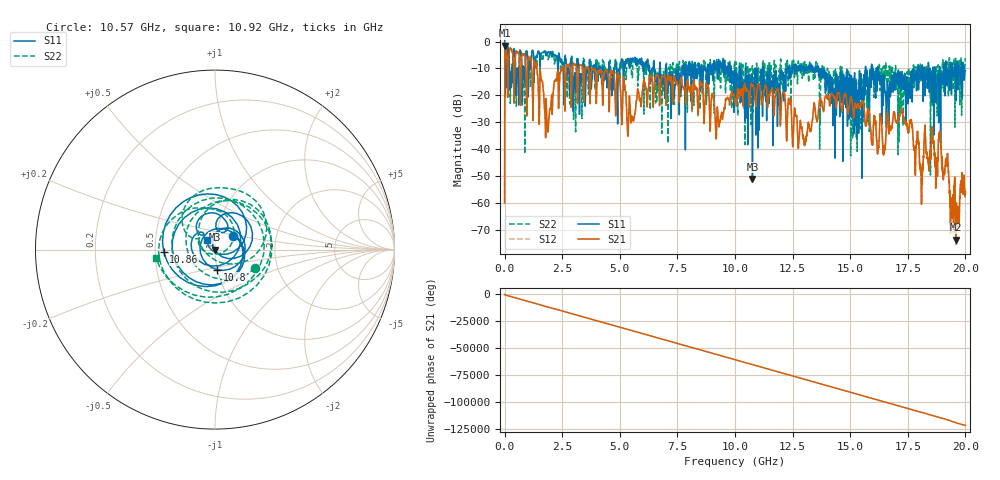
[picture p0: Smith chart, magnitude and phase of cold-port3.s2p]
! MS46122B
! 2250307/22442219
! 2/18/2026 9:26:52 AM
! C:\USERS\SPARKY\DOCUMENTS\VNA_DATA\FEB18_2026\COLD-PORT3.S2P
! CHANNEL.1
! TR.MEASUREMENT
! RAW.DATA
# GHZ S RI R 50.0
! FREQ.GHZ  S11RE  S11IM  S21RE  S21IM  S12RE  S12IM  S22RE  S22IM
!; PortSelection: Port_12
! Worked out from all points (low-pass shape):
!   10001 points, 1 MHz to 20 GHz, reference 50 ohm
!   highest |S21| = -1.53 dB at 33 MHz (marker M1); lowest = -73.6 dB at 19.59 GHz (marker M2)
!   |S21| within 3 dB of the highest: 197.9 MHz to 357.9 MHz (160 MHz wide, 57.6 % of centre); 476.2 MHz to 622 MHz (145.8 MHz wide, 26.5 % of centre) (the widest 2 of 5)
!   lowest |S11| = -51.0 dB at 10.76 GHz (marker M3), VSWR 1.01, Z = 49.7 + j0.0468 ohm
!   |S11| at or under -10 dB: 11.5 GHz to 12.23 GHz (732.6 MHz wide, 6.17 % of centre); 13.63 GHz to 15.66 GHz (2.023 GHz wide, 13.8 % of centre); 16.22 GHz to 17.73 GHz (1.513 GHz wide, 8.92 % of centre) (the widest 3 of 112)
!   |S22| runs from -49.6 to -0.2 dB; largest |S21 - S12| = 0.064
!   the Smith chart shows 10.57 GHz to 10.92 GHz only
!   S11 on the Smith chart (normalised r, x): 10.57 GHz: 1.21, +0.19; 10.8 GHz: 1.00, -0.23; 10.86 GHz: 0.56, -0.02; 10.92 GHz: 0.91, +0.10
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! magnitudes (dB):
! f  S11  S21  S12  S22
! 1 MHz  0.4  -60.0  -60.0  -0.2
! 33 MHz  -11.2  -1.5  -1.8  -20.7
! 105 MHz  -3.9  -7.2  -7.4  -2.8
! 269 MHz  -11.4  -2.8  -2.7  -11.9
! 1.357 GHz  -5.5  -9.6  -9.3  -6.7
! 1.843 GHz  -4.1  -29.9  -30.4  -4.6
! 3.335 GHz  -12.9  -8.8  -8.9  -13.2
! 5.559 GHz  -6.3  -28.1  -28.1  -10.0
! 6.669 GHz  -11.9  -13.3  -13.4  -13.3
! 10 GHz  -10.6  -22.6  -22.1  -9.5
! 10.57 GHz  -17.9  -18.5  -18.5  -12.2
! 10.76 GHz  -51.0  -16.3  -16.5  -9.0
! 10.8 GHz  -19.0  -16.7  -16.8  -15.6
! 10.86 GHz  -10.9  -21.2  -21.3  -12.2
! 10.92 GHz  -23.2  -23.3  -22.9  -9.5
! 13.33 GHz  -10.6  -30.3  -31.0  -11.1
! 16.67 GHz  -32.1  -33.5  -33.6  -12.5
! 17.63 GHz  -12.7  -29.5  -29.3  -14.7
! 18.09 GHz  -13.0  -54.8  -55.0  -12.0
! 18.89 GHz  -10.2  -34.3  -34.5  -12.3
! 19.59 GHz  -22.0  -73.6  -72.0  -6.7
! 20 GHz  -10.8  -55.7  -56.5  -6.1
